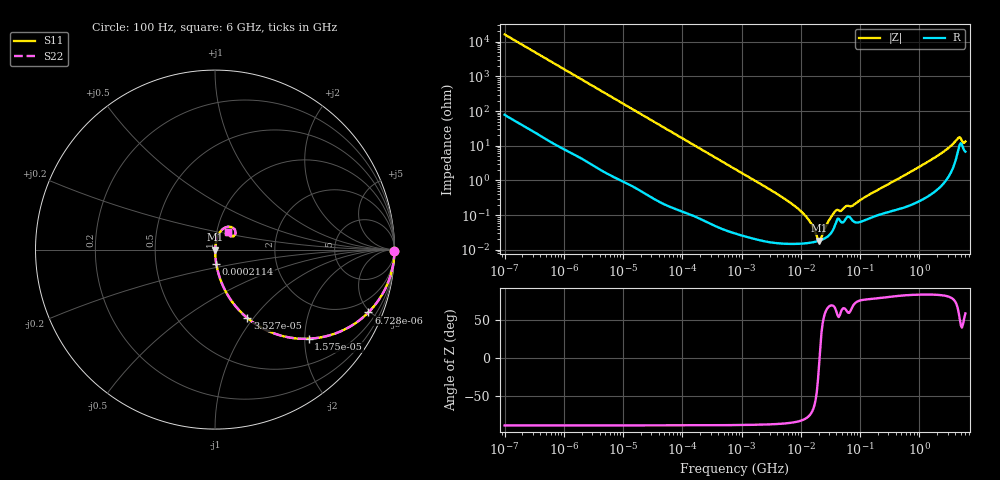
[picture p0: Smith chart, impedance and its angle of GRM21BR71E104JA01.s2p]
!Murata Part Number: GRM21BR71E104JA01
!These Parameters are Measured in Series Mode Connection
!Data Generated on Mar 30, 2021
!  o--ll--o
!Port1  Port2
!  o------o
!Operation Temp=25[degC], DC Bias Voltage=0[V]
!Freq. Start=100[Hz] Stop=6[GHz] 401[Steps]
# Hz S RI R 50
!Freq.(Hz) S11(Real) S11(Imag) S21(Real) S21(Imag) S12(Real) S12(Imag) S22(Real) S22(Imag)
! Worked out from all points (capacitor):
!   401 points, 100 Hz to 6 GHz, reference 50 ohm
!   read as one part in series: C = 98.3 nF near 109 Hz
!   lowest |Z| = 18.5 mohm at 20.35 MHz (marker M1)
!   series resonance near 20.69 MHz, so ESL is about 600 pH
!   S11 on the Smith chart (normalised r, x): 100 Hz: open; 6.728 kHz: 1.03, -4.87; 15.75 kHz: 1.01, -2.09; 35.27 kHz: 1.01, -0.93; 211.4 kHz: 1.00, -0.16; 6 GHz: 1.14, +0.23
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100  0.9999 -0.00618  6.82e-05 0.00618  6.82e-05 0.00618  0.9999 -0.00618
2008  0.9845 -0.1211  0.0155 0.1211  0.0155 0.1211  0.9845 -0.1211
6728  0.8543 -0.3502  0.1457 0.3502  0.1457 0.3502  0.8543 -0.3502
15752  0.5209 -0.4966  0.4791 0.4966  0.4791 0.4966  0.5209 -0.4966
35265  0.1807 -0.3818  0.8193 0.3818  0.8193 0.3818  0.1807 -0.3818
40335  0.1446 -0.3487  0.8554 0.3487  0.8554 0.3487  0.1446 -0.3487
78952  0.0432 -0.1999  0.9568 0.1999  0.9568 0.1999  0.0432 -0.1999
211427  0.00686 -0.0779  0.9931 0.0779  0.9931 0.0779  0.00686 -0.0779
774597  0.00076 -0.0215  0.9992 0.0215  0.9992 0.0215  0.00076 -0.0215
6948629  0.000153 -0.00216  0.9998 0.00216  0.9998 0.00216  0.000153 -0.00216
1.137099e7  0.000154 -0.00104  0.9998 0.00104  0.9998 0.00104  0.000154 -0.00104
1.555665e7  0.000164 -0.000477  0.9998 0.000477  0.9998 0.000477  0.000164 -0.000477
1.86079e7  0.000175 -0.000176  0.9998 0.000176  0.9998 0.000176  0.000175 -0.000176
2.035112e7  0.000183 -2.71e-05  0.9998 2.71e-05  0.9998 2.71e-05  0.000183 -2.71e-05
2.225763e7  0.000193 0.000123  0.9998 -0.000123  0.9998 -0.000123  0.000193 0.000123
2.911731e7  0.000251 0.000606  0.9997 -0.000606  0.9997 -0.000606  0.000251 0.000606
3.80911e7  0.000533 0.00119  0.9995 -0.00119  0.9995 -0.00119  0.000533 0.00119
7.455971e7  0.000702 0.00174  0.9993 -0.00174  0.9993 -0.00174  0.000702 0.00174
3.124326e8  0.00131 0.00795  0.9987 -0.00795  0.9987 -0.00795  0.00131 0.00795
1.95892e9  0.00757 0.0485  0.9924 -0.0485  0.9924 -0.0485  0.00757 0.0485
4.385646e9  0.0728 0.1277  0.9272 -0.1277  0.9272 -0.1277  0.0728 0.1277
6e9  0.0742 0.0987  0.9258 -0.0987  0.9258 -0.0987  0.0742 0.0987
